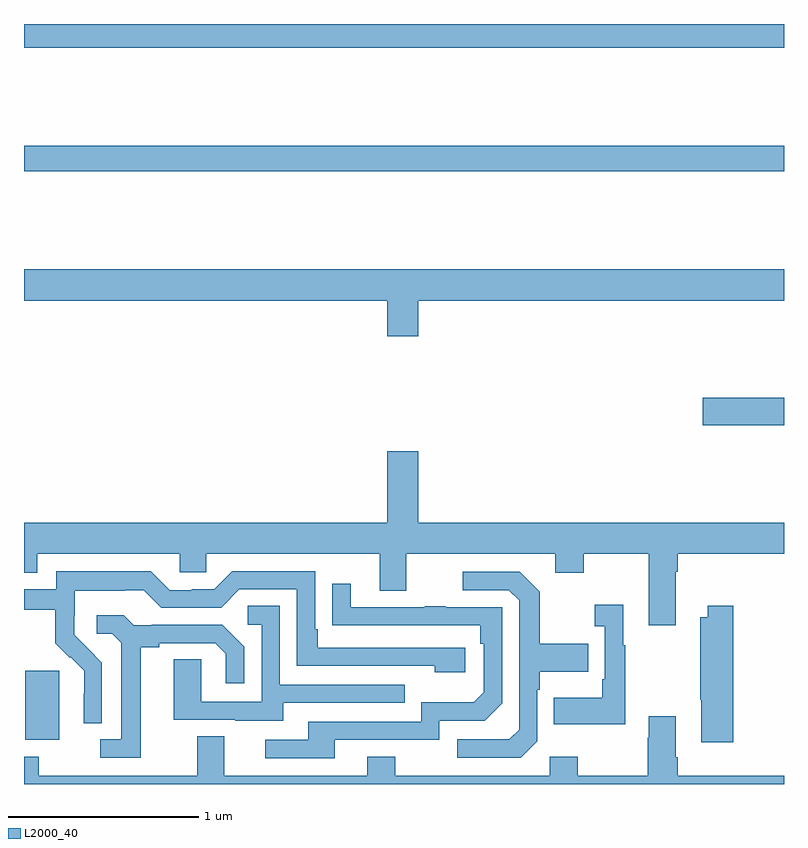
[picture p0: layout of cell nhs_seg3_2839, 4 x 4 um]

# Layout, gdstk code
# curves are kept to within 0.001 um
import gdstk
lib = gdstk.Library(unit=1e-6, precision=1e-09)
def R(c, l, rs):  # rectangles x0, y0, x1, y1
    for r in rs: c.add(gdstk.rectangle(r[:2], r[2:], *l))
def P(c, l, *ps):  # polygons
    for p in ps: c.add(gdstk.Polygon(p, *l))
L2000_40 = (2000, 40)

nhs_seg3_2839 = lib.new_cell('nhs_seg3_2839')
R(nhs_seg3_2839, L2000_40, [(259.007,670.634,259.186,670.995), (262.572,672.287,263,672.434), (259,673.624,263,673.76), (259,674.276,263,674.4)])
P(nhs_seg3_2839, L2000_40, [(261.076,672.944),(263,672.944),(263,673.108),(259,673.108),(259,672.944),(260.912,672.944),(260.912,672.756),(261.076,672.756)],
  [(262.429,671.516),(262.442,671.516),(262.442,671.612),(263,671.612),(263,671.776),(261.076,671.776),(261.076,672.151),(260.912,672.151),(260.912,671.776),(259,671.776),(259,671.513),(259.069,671.513),(259.069,671.612),(259.821,671.612),(259.821,671.514),(259.959,671.514),(259.959,671.612),(260.873,671.612),(260.873,671.418),(261.013,671.418),(261.013,671.612),(261.797,671.612),(261.797,671.513),(261.945,671.513),(261.945,671.612),(262.289,671.612),(262.289,671.235),(262.429,671.235)],
  [(259.41,671.038),(259.264,671.186),(259.264,671.283),(259.266,671.283),(259.266,671.417),(259.529,671.417),(259.529,671.421),(259.629,671.421),(259.722,671.328),(260.037,671.328),(260.133,671.424),(260.436,671.424),(260.436,671.022),(261.161,671.022),(261.161,670.988),(261.322,670.988),(261.322,671.118),(260.545,671.118),(260.545,671.215),(260.532,671.215),(260.532,671.52),(260.097,671.52),(260.001,671.424),(259.883,671.424),(259.883,671.421),(259.767,671.421),(259.667,671.521),(259.17,671.521),(259.17,671.424),(259,671.424),(259,671.316),(259.165,671.316),(259.165,671.141),(259.242,671.064),(259.245,671.067),(259.316,670.997),(259.316,670.874),(259.314,670.874),(259.314,670.72),(259.41,670.72)],
  [(261.702,670.626),(261.702,670.895),(261.715,670.895),(261.715,670.991),(261.971,670.991),(261.971,671.139),(261.715,671.139),(261.715,671.411),(261.609,671.517),(261.309,671.517),(261.309,671.421),(261.552,671.421),(261.606,671.367),(261.606,670.686),(261.555,670.635),(261.279,670.635),(261.279,670.539),(261.615,670.539)],
  [(260.635,670.632),(261.186,670.632),(261.186,670.734),(261.426,670.734),(261.516,670.824),(261.516,671.331),(261.221,671.331),(261.221,671.336),(261.109,671.336),(261.109,671.331),(260.719,671.331),(260.719,671.455),(260.623,671.455),(260.623,671.236),(261.4,671.235),(261.4,671.138),(261.42,671.138),(261.42,670.884),(261.367,670.831),(261.09,670.831),(261.09,670.728),(260.495,670.728),(260.495,670.632),(260.271,670.632),(260.271,670.536),(260.635,670.536)],
  [(262.165,671.131),(262.153,671.131),(262.153,671.344),(262.005,671.344),(262.005,671.231),(262.056,671.231),(262.056,670.951),(262.044,670.951),(262.044,670.855),(261.787,670.855),(261.787,670.715),(262.165,670.715)],
  [(260.365,670.827),(261.005,670.827),(261.005,670.923),(260.346,670.923),(260.346,671.339),(260.178,671.339),(260.178,671.238),(260.25,671.238),(260.25,670.833),(259.932,670.833),(259.932,671.057),(259.787,671.057),(259.787,670.737),(260.111,670.737),(260.111,670.733),(260.365,670.733)],
  [(262.733,671.338),(262.598,671.338),(262.598,671.278),(262.558,671.278),(262.558,670.843),(262.565,670.843),(262.565,670.62),(262.733,670.62)],
  [(259.615,671.12),(259.711,671.12),(259.711,671.142),(260.006,671.142),(260.063,671.085),(260.063,670.929),(260.16,670.929),(260.16,671.122),(260.044,671.238),(259.672,671.238),(259.672,671.235),(259.578,671.235),(259.526,671.287),(259.383,671.287),(259.383,671.19),(259.464,671.19),(259.511,671.143),(259.511,670.635),(259.401,670.635),(259.401,670.539),(259.615,670.539)],
  [(263,670.444),(262.442,670.444),(262.442,670.54),(262.429,670.54),(262.429,670.756),(262.289,670.756),(262.289,670.643),(262.282,670.643),(262.282,670.444),(261.915,670.444),(261.915,670.543),(261.768,670.543),(261.768,670.444),(260.955,670.444),(260.955,670.543),(260.807,670.543),(260.807,670.444),(260.053,670.444),(260.053,670.652),(259.913,670.652),(259.913,670.444),(259.077,670.444),(259.077,670.543),(259,670.543),(259,670.4),(263,670.4)])

lib.write_gds('nhs_seg3_2839.gds')
